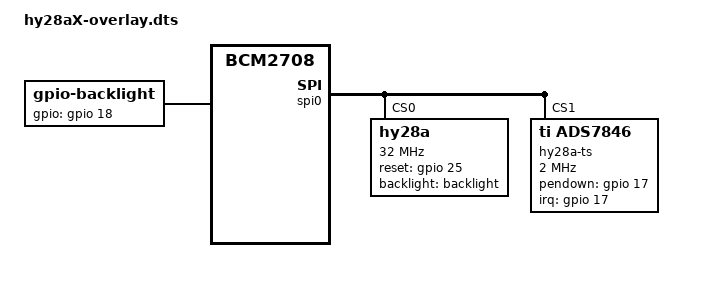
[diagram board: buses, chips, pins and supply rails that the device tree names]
/*
 * Device Tree overlay for hy28a
 *
 */

/dts-v1/;
/plugin/;

/ {
	compatible = "brcm,bcm2708";
	
	fragment@0 {
		target = <&spi0>;
		__overlay__ {
			compatible = "brcm,bcm2835-spi"; /* spi-bcm2708 DMA can't handle multi transfers */
			status = "okay";

			spidev@0{
				status = "disabled";
			};

			spidev@1{
				status = "disabled";
			};
		};
	};

	fragment@1 {
		target = <&gpio>;
		__overlay__ {
			hy28a_pins: hy28a_pins {
				brcm,pins = <17 18 25>;
				brcm,function = <0 1 1>; /* in out out */
			};
		};
	};

	fragment@2 {
		target = <&spi0>;
		__overlay__ {
			/* needed to avoid dtc warning */
			#address-cells = <1>;
			#size-cells = <0>;

			hy28a: hy28a@0{
				compatible = "hy28a";
				reg = <0>;
				pinctrl-names = "default";
				pinctrl-0 = <&hy28a_pins>;

				spi-max-frequency = <32000000>;
				spi-cpol;
				spi-cpha;
				format = "rgb565";
				readable;
				rotate = <270>;
				bgr;
				reset-gpios = <&gpio 25 0>;
				backlight = <&backlight>;
			};

			hy28a-ts@1 {
				compatible = "ti,ads7846";
				reg = <1>;

				spi-max-frequency = <2000000>;
				interrupts = <17 2>; /* high-to-low edge triggered */
				interrupt-parent = <&gpio>;
				pendown-gpio = <&gpio 17 0>;
				ti,x-plate-ohms = /bits/ 16 <100>;
				ti,pressure-max = /bits/ 16 <255>;
			};
		};
	};

	fragment@3 {
		target-path = "/soc";
		__overlay__ {
			backlight: backlight {
				compatible = "gpio-backlight";
				gpios = <&gpio 18 0>;
			};
		};
	};

	__overrides__ {
		speed =   <&hy28a>,"spi-max-frequency:0";
		rotate =  <&hy28a>,"rotate:0";
	};
};
